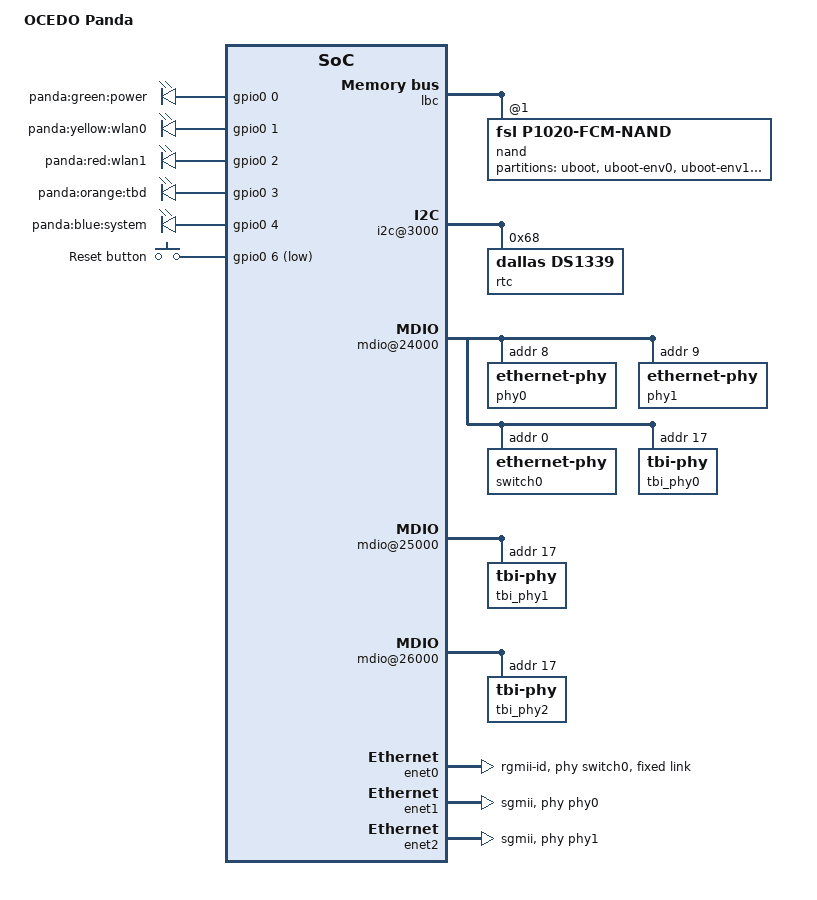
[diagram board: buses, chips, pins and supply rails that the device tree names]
// SPDX-License-Identifier: GPL-2.0-or-later OR MIT

/include/ "fsl/p1020si-pre.dtsi"
/ {
	model = "OCEDO Panda";
	compatible = "ocedo,panda";

	chosen {
		bootargs-override = "console=ttyS0,115200 ubi.mtd=3,2048";
	};

	memory {
		device_type = "memory";
	};

	leds {
		compatible = "gpio-leds";

		led1 {
			gpios = <&gpio0 0 0>;
			label = "panda:green:power";
			default-state = "on";
		};

		led2 {
			gpios = <&gpio0 1 0>;
			label = "panda:yellow:wlan0";
			linux,default-trigger = "phy0tpt";
		};

		led3 {
			gpios = <&gpio0 2 0>;
			label = "panda:red:wlan1";
			linux,default-trigger = "phy1tpt";
		};

		led4 {
			gpios = <&gpio0 3 0>;
			label = "panda:orange:tbd";
		};

		led5 {
			gpios = <&gpio0 4 0>;
			label = "panda:blue:system";
		};
	};

	buttons {
		compatible = "gpio-keys";

		reset {
			label = "Reset button";
			gpios = <&gpio0 6 1>;
			linux,code = <0x198>;
		};
	};

	lbc: localbus@ffe05000 {
		reg = <0 0xffe05000 0 0x1000>;
		ranges = <0x0 0x0 0x0 0xec000000 0x04000000
			  0x1 0x0 0x0 0xff800000 0x00040000
			  0x2 0x0 0x0 0xffa00000 0x00020000
			  0x3 0x0 0x0 0xffb00000 0x00020000>;

		nand@1,0 {
			#address-cells = <0x1>;
			#size-cells = <0x1>;
			compatible = "fsl,p1020-fcm-nand", "fsl,elbc-fcm-nand";
			reg = <0x1 0x0 0x40000>;

			partition@0 {
				reg = <0x0 0xa0000>;
				label = "uboot";
				read-only;
			};

			partition@a0000 {
				reg = <0xa0000 0x20000>;
				label = "uboot-env0";
			};

			partition@c0000 {
				reg = <0xc0000 0x40000>;
				label = "uboot-env1";
			};

			partition@ {
				reg = < 0x100000 0xff00000>;
				label = "ubi";
			};
		};
	};

	soc: soc@ffe00000 {
		ranges = <0x0 0x0 0xffe00000 0x100000>;

		i2c@3000 {
			rtc@68 {
				compatible = "dallas,ds1339";
				reg = <0x68>;
			};
		};

		gpio0: gpio-controller@fc00 {
		};

		mdio@24000 {
			phy0: ethernet-phy@8 {
				reg = <0x8>;
			};

			phy1: ethernet-phy@9 {
				reg = <0x9>;
			};

			switch0: ethernet-phy@0 {
				reg = <0x0>;

				ports {
					#address-cells = <1>;
					#size-cells = <0>;

					lan@0 {
						reg = <0>;
						label = "lan1";
					};

					lan@1 {
						reg = <1>;
						label = "lan2";
					};

					lan@2 {
						reg = <2>;
						label = "lan3";
					};

					lan@3 {
						reg = <3>;
						label = "lan4";
					};

					lan@4 {
						reg = <4>;
						label = "lan5";
					};

					lan@5 {
						reg = <5>;
						label = "lan6";
					};

					lan@6 {
						reg = <6>;
						label = "lan7";
					};

					lan@7 {
						reg = <7>;
						label = "lan8";
					};

					cpu@8 {
						reg = <8>;
						label = "cpu";

						fixed-link {
							speed = <1000>;
							full-duplex;
						};
					};
				};
			};

			tbi_phy0: tbi-phy@11 {
				reg = <0x11>;
			};
		};

		mdio@25000 {
			tbi_phy1: tbi-phy@11 {
				reg = <0x11>;
			};
		};

		mdio@26000 {
			tbi_phy2: tbi-phy@11 {
				reg = <0x11>;
			};
		};

		enet0: ethernet@b0000 {
			status = "okay";
			phy-connection-type = "rgmii-id";

			phy-handle = <&switch0>;

			fixed-link {
				speed = <1000>;
				full-duplex;
			};
		};

		enet1: ethernet@b1000 {
			status = "okay";
			phy-handle = <&phy0>;
			phy-connection-type = "sgmii";
			tbi-handle = <&tbi_phy1>;
		};

		enet2: ethernet@b2000 {
			status = "okay";
			phy-handle = <&phy1>;
			phy-connection-type = "sgmii";
			tbi-handle = <&tbi_phy2>;
		};

		usb@22000 {
			phy_type = "ulpi";
			dr_mode = "host";
		};

		usb@23000 {
			status = "disabled";
		};
	};

	pci0: pcie@ffe09000 {
		ranges = <0x2000000 0x0 0xa0000000 0 0xa0000000 0x0 0x20000000
			  0x1000000 0x0 0x00000000 0 0xffc10000 0x0 0x10000>;
		reg = <0 0xffe09000 0 0x1000>;
		pcie@0 {
			ranges = <0x2000000 0x0 0xa0000000
				  0x2000000 0x0 0xa0000000
				  0x0 0x20000000

				  0x1000000 0x0 0x0
				  0x1000000 0x0 0x0
				  0x0 0x100000>;
		};
	};

	pci1: pcie@ffe0a000 {
		reg = <0 0xffe0a000 0 0x1000>;
		ranges = <0x2000000 0x0 0x80000000 0 0x80000000 0x0 0x20000000
			  0x1000000 0x0 0x00000000 0 0xffc00000 0x0 0x10000>;
		pcie@0 {
			ranges = <0x2000000 0x0 0x80000000
				  0x2000000 0x0 0x80000000
				  0x0 0x20000000

				  0x1000000 0x0 0x0
				  0x1000000 0x0 0x0
				  0x0 0x100000>;
		};
	};
};
/include/ "fsl/p1020si-post.dtsi"
